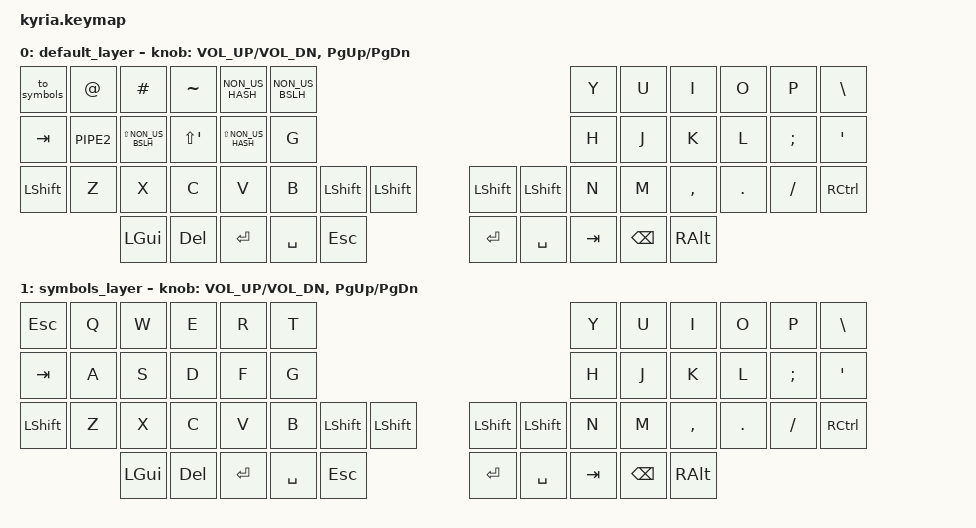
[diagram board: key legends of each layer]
/*
 * Copyright (c) 2020 The ZMK Contributors
 *
 * SPDX-License-Identifier: MIT
 */

#include <behaviors.dtsi>
#include <dt-bindings/zmk/keys.h>
#include <dt-bindings/zmk/rgb.h>

#define DEFAULT 0
#define SYMBOLS 1

/ {
    macros {
        to_symbols: to_symbols {
            label = "to_symbols";
            compatible = "zmk,behavior-macro";
            #binding-cells = <0>;
            wait-ms = <0>;
            tap-ms = <0>;
            bindings 
                = <&macro_press &mo SYMBOLS>
                , <&macro_tap &rgb_ug RGB_COLOR_HSB(128, 100, 100)>
                , <&macro_pause_for_release>
                , <&macro_release &mo SYMBOLS>
                , <&macro_tap &rgb_ug RGB_COLOR_HSB(300, 100, 50)>;
        };
    };

	keymap {
		compatible = "zmk,keymap";

		default_layer {
// ---------------------------------------------------------------------------------------------------------------------------------
// |  ESC  |  Q  |  W  |  E   |  R   |  T   |                                          |  Y   |  U    |  I    |  O   |   P   |   \  |
// |  TAB  |  A  |  S  |  D   |  F   |  G   |                                          |  H   |  J    |  K    |  L   |   ;   |   '  |
// | SHIFT |  Z  |  X  |  C   |  V   |  B   | L SHIFT | L SHIFT |  | L SHIFT | L SHIFT |  N   |  M    |  ,    |  .   |   /   | CTRL |
//                     | GUI  | DEL  | RET  |  SPACE  |   ESC   |  |   RET   |  SPACE  | TAB  | BSPC  | R-ALT |
			bindings = <
	&to_symbols &kp AT &kp HASH &kp TILDE &kp NON_US_HASH &kp NON_US_BSLH                                                &kp Y &kp U  &kp I     &kp O   &kp P    &kp BSLH
	&kp TAB   &kp PIPE2 &kp LS(NON_US_BSLH) &kp LS(APOS) &kp LS(NON_US_HASH) &kp G                                                &kp H &kp J  &kp K     &kp L   &kp SEMI &kp SQT
	&kp LSHFT &kp Z &kp X &kp C &kp V &kp B &kp LSHFT &kp LSHFT        &kp LSHFT &kp LSHFT &kp N &kp M  &kp COMMA &kp DOT &kp FSLH &kp RCTRL
	                 &kp LGUI &kp DEL &kp RET &kp SPACE &kp ESC        &kp RET  &kp SPACE  &kp TAB &kp BSPC &kp RALT
			>;

			sensor-bindings = <&inc_dec_kp C_VOL_UP C_VOL_DN &inc_dec_kp PG_UP PG_DN>;
		};

        symbols_layer {
// ---------------------------------------------------------------------------------------------------------------------------------
// |  ESC  |  Q  |  W  |  E   |  R   |  T   |                                          |  Y   |  U    |  I    |  O   |   P   |   \  |
// |  TAB  |  A  |  S  |  D   |  F   |  G   |                                          |  H   |  J    |  K    |  L   |   ;   |   '  |
// | SHIFT |  Z  |  X  |  C   |  V   |  B   | L SHIFT | L SHIFT |  | L SHIFT | L SHIFT |  N   |  M    |  ,    |  .   |   /   | CTRL |
//                     | GUI  | DEL  | RET  |  SPACE  |   ESC   |  |   RET   |  SPACE  | TAB  | BSPC  | R-ALT |
			bindings = <
	&kp ESC   &kp Q &kp W &kp E &kp R &kp T                                                &kp Y &kp U  &kp I     &kp O   &kp P    &kp BSLH
	&kp TAB   &kp A &kp S &kp D &kp F &kp G                                                &kp H &kp J  &kp K     &kp L   &kp SEMI &kp SQT
	&kp LSHFT &kp Z &kp X &kp C &kp V &kp B &kp LSHFT &kp LSHFT        &kp LSHFT &kp LSHFT &kp N &kp M  &kp COMMA &kp DOT &kp FSLH &kp RCTRL
	                 &kp LGUI &kp DEL &kp RET &kp SPACE &kp ESC        &kp RET  &kp SPACE  &kp TAB &kp BSPC &kp RALT
			>;

			sensor-bindings = <&inc_dec_kp C_VOL_UP C_VOL_DN &inc_dec_kp PG_UP PG_DN>;
		};
    };
};
